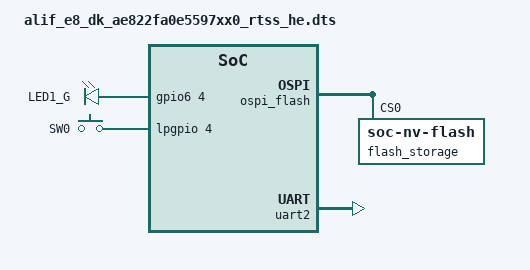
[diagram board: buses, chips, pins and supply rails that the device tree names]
/* Copyright (c) 2025 Alif Semiconductor
 *
 * SPDX-License-Identifier: Apache-2.0
 */

/dts-v1/;

#include <alif/ensemble/e8/ae822fa0e5597xx0.dtsi>
#include <alif/ensemble/common/ensemble_rtss_he.dtsi>
#include "../common/ensemble-e4-e6-e8-pinctrl.dtsi"

/ {
	compatible = "arm,alif-e8-dk-ae822fa0e5597xx0-rtss-he";
	#address-cells = <1>;
	#size-cells = <1>;

	chosen {
		zephyr,flash = &mram_storage;
		zephyr,code-partition = &slot0_partition;
		zephyr,sram = &dtcm;
		zephyr,console = &uart2;
		zephyr,shell-uart = &uart2;
		zephyr,uart-mcumgr = &uart2;
	};

	aliases {
		led0 = &aled0;
		sw0 = &button0;
		watchdog0 = &wdog0;
	};

	leds {
		compatible = "gpio-leds";

		aled0: led_0 {
			gpios = <&gpio6 4 0>;
			label = "LED1_G";
		};
	};

	buttons {
		compatible = "gpio-keys";

		button0: button_0 {
			gpios = < &lpgpio 4 0 >;
			label = "SW0";
		};
	};
};

&lpgpio {
	status = "okay";
};

&ospi_flash{
	compatible = "issi,xspi-flash-controller";
	reg = <0x0>;
	erase-value = <0xff>;
	num-of-sector = <32768>;
	page-size = <4096>;
	sector-size = <4096>;
	write-block-size = <1>;

	/* Flash Size 128MB */
	#address-cells = <1>;
	#size-cells = <1>;

	flash_storage: flash_storage@0 {
		compatible = "soc-nv-flash";
		reg = <0x0 DT_SIZE_M(128)>;
		erase-block-size = <DT_SIZE_K(4)>;
		write-block-size = <1>;
	};
};

&gpio6 {
	status = "okay";
};

&uart2 {
	status = "okay";
};

